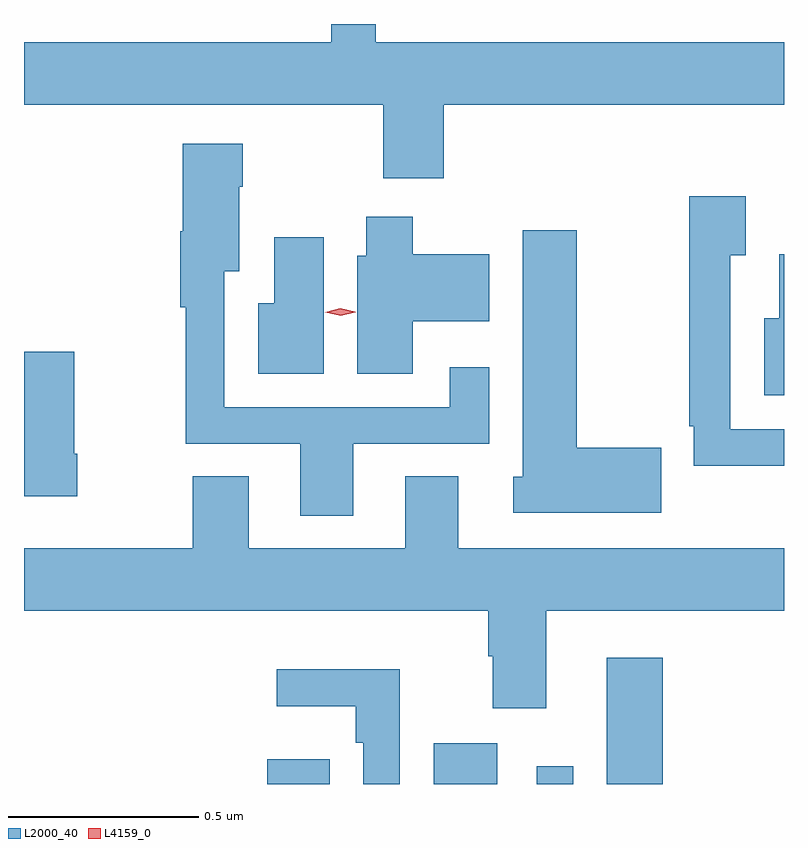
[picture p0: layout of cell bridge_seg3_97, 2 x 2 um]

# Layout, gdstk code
import gdstk
lib = gdstk.Library(unit=1e-6, precision=1e-09)
def R(c, l, rs):  # rectangles x0, y0, x1, y1
    for r in rs: c.add(gdstk.rectangle(r[:2], r[2:], *l))
def P(c, l, *ps):  # polygons
    for p in ps: c.add(gdstk.Polygon(p, *l))
L2000_40 = (2000, 40)
L4159_0 = (4159, 0)

bridge_seg3_97 = lib.new_cell('bridge_seg3_97')
R(bridge_seg3_97, L2000_40, [(495.68,723.104,495.844,723.169), (496.118,723.104,496.285,723.211), (496.389,723.104,496.485,723.151), (496.574,723.104,496.721,723.436)])
P(bridge_seg3_97, L2000_40, [(496.145,724.892),(497.04,724.892),(497.04,725.056),(495.965,725.056),(495.965,725.104),(495.848,725.104),(495.848,725.056),(495.04,725.056),(495.04,724.892),(495.985,724.892),(495.985,724.698),(496.145,724.698)],
  [(495.907,723.999),(496.264,723.999),(496.264,724.201),(496.16,724.201),(496.16,724.095),(495.567,724.095),(495.567,724.454),(495.607,724.454),(495.607,724.676),(495.615,724.676),(495.615,724.789),(495.458,724.789),(495.458,724.558),(495.451,724.558),(495.451,724.358),(495.466,724.358),(495.466,723.999),(495.767,723.999),(495.767,723.81),(495.907,723.81)],
  [(497.04,724.038),(496.899,724.038),(496.899,724.495),(496.939,724.495),(496.939,724.651),(496.791,724.651),(496.791,724.045),(496.803,724.045),(496.803,723.941),(497.04,723.941)],
  [(496.063,724.322),(496.264,724.322),(496.264,724.498),(496.063,724.498),(496.063,724.597),(495.941,724.597),(495.941,724.494),(495.917,724.494),(495.917,724.184),(496.063,724.184)],
  [(496.717,723.989),(496.494,723.989),(496.494,724.561),(496.352,724.561),(496.352,723.912),(496.328,723.912),(496.328,723.818),(496.717,723.818)],
  [(495.829,724.543),(495.698,724.543),(495.698,724.369),(495.656,724.369),(495.656,724.184),(495.829,724.184)],
  [(497.04,724.498),(497.027,724.498),(497.027,724.33),(496.988,724.33),(496.988,724.127),(497.04,724.127)],
  [(495.18,723.973),(495.172,723.973),(495.172,724.242),(495.04,724.242),(495.04,723.861),(495.18,723.861)],
  [(496.414,723.56),(497.04,723.56),(497.04,723.724),(496.183,723.724),(496.183,723.914),(496.043,723.914),(496.043,723.724),(495.631,723.724),(495.631,723.914),(495.484,723.914),(495.484,723.724),(495.04,723.724),(495.04,723.56),(496.262,723.56),(496.262,723.44),(496.274,723.44),(496.274,723.303),(496.414,723.303)],
  [(496.029,723.406),(495.705,723.406),(495.705,723.308),(495.913,723.308),(495.913,723.212),(495.933,723.212),(495.933,723.104),(496.029,723.104)])
P(bridge_seg3_97, L4159_0, [(495.873,724.336),(495.833,724.345),(495.832,724.345),(495.833,724.345),(495.872,724.356),(495.912,724.347),(495.913,724.346),(495.912,724.346)])

lib.write_gds('bridge_seg3_97.gds')
